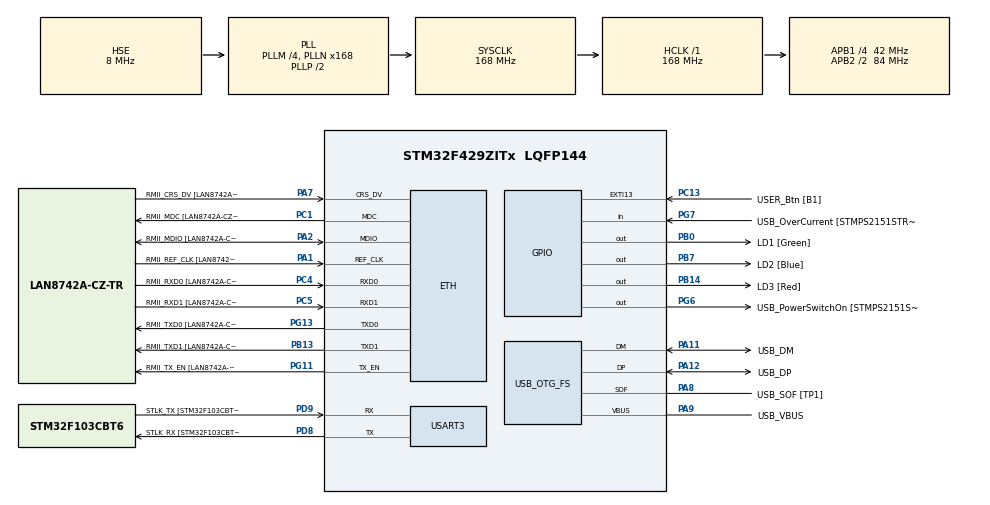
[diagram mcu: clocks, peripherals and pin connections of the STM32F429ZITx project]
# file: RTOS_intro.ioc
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ETH.MediaInterface=HAL_ETH_RMII_MODE
ETH.PHY_Name=LAN8742A_PHY_ADDRESS
ETH.PHY_Value=0
ETH.PhyAddress=0
FREERTOS.Tasks01=LED0,24,128,StartDefaultTask,Default,NULL,Dynamic,NULL,NULL;LED1,8,128,StartTask02,Default,NULL,Dynamic,NULL,NULL
Mcu.Family=STM32F4
Mcu.Name=STM32F429ZITx
Mcu.Package=LQFP144
NVIC.PriorityGroup=NVIC_PRIORITYGROUP_4
PA1.GPIO_Label=RMII_REF_CLK [LAN8742A-CZ-TR_REFCLK0]
PA1.Mode=RMII
PA1.Signal=ETH_REF_CLK
PA10.GPIO_Label=USB_ID
PA10.Signal=USB_OTG_FS_ID
PA11.GPIO_Label=USB_DM
PA11.Mode=Device_Only
PA11.Signal=USB_OTG_FS_DM
PA12.GPIO_Label=USB_DP
PA12.Mode=Device_Only
PA12.Signal=USB_OTG_FS_DP
PA13.GPIO_Label=TMS
PA13.Mode=Serial_Wire
PA13.Signal=SYS_JTMS-SWDIO
PA14.GPIO_Label=TCK
PA14.Mode=Serial_Wire
PA14.Signal=SYS_JTCK-SWCLK
PA2.GPIO_Label=RMII_MDIO [LAN8742A-CZ-TR_MDIO]
PA2.Mode=RMII
PA2.Signal=ETH_MDIO
PA7.GPIO_Label=RMII_CRS_DV [LAN8742A-CZ-TR_CRS_DV]
PA7.Mode=RMII
PA7.Signal=ETH_CRS_DV
PA8.GPIO_Label=USB_SOF [TP1]
PA8.Mode=Activate_SOF_FS
PA8.Signal=USB_OTG_FS_SOF
PA9.GPIO_Label=USB_VBUS
PA9.Mode=Activate_VBUS
PA9.Signal=USB_OTG_FS_VBUS
PB0.GPIO_Label=LD1 [Green]
PB0.Signal=GPIO_Output
PB13.GPIO_Label=RMII_TXD1 [LAN8742A-CZ-TR_TXD1]
PB13.Mode=RMII
PB13.Signal=ETH_TXD1
PB14.GPIO_Label=LD3 [Red]
PB14.Signal=GPIO_Output
PB7.GPIO_Label=LD2 [Blue]
PB7.Signal=GPIO_Output
PC1.GPIO_Label=RMII_MDC [LAN8742A-CZ-TR_MDC]
PC1.Mode=RMII
PC1.Signal=ETH_MDC
PC13.GPIO_Label=USER_Btn [B1]
PC13.Signal=GPXTI13
PC14/OSC32_IN.Mode=LSE-External-Oscillator
PC14/OSC32_IN.Signal=RCC_OSC32_IN
PC15/OSC32_OUT.Mode=LSE-External-Oscillator
PC15/OSC32_OUT.Signal=RCC_OSC32_OUT
PC4.GPIO_Label=RMII_RXD0 [LAN8742A-CZ-TR_RXD0]
PC4.Mode=RMII
PC4.Signal=ETH_RXD0
PC5.GPIO_Label=RMII_RXD1 [LAN8742A-CZ-TR_RXD1]
PC5.Mode=RMII
PC5.Signal=ETH_RXD1
PD8.GPIO_Label=STLK_RX [STM32F103CBT6_PA3]
PD8.Mode=Asynchronous
PD8.Signal=USART3_TX
PD9.GPIO_Label=STLK_TX [STM32F103CBT6_PA2]
PD9.Mode=Asynchronous
PD9.Signal=USART3_RX
PG11.GPIO_Label=RMII_TX_EN [LAN8742A-CZ-TR_TXEN]
PG11.Mode=RMII
PG11.Signal=ETH_TX_EN
PG13.GPIO_Label=RMII_TXD0 [LAN8742A-CZ-TR_TXD0]
PG13.Mode=RMII
PG13.Signal=ETH_TXD0
PG6.GPIO_Label=USB_PowerSwitchOn [STMPS2151STR_EN]
PG6.Signal=GPIO_Output
PG7.GPIO_Label=USB_OverCurrent [STMPS2151STR_FAULT]
PG7.Signal=GPIO_Input
PH0/OSC_IN.GPIO_Label=MCO [STM32F103CBT6_PA8]
PH0/OSC_IN.Mode=HSE-External-Clock-Source
PH0/OSC_IN.Signal=RCC_OSC_IN
PH1/OSC_OUT.Mode=HSE-External-Clock-Source
PH1/OSC_OUT.Signal=RCC_OSC_OUT
ProjectManager.HeapSize=0x200
ProjectManager.StackSize=0x400
ProjectManager.TargetToolchain=STM32CubeIDE
RCC.48MHZClocksFreq_Value=48000000
RCC.AHBFreq_Value=168000000
RCC.APB1CLKDivider=RCC_HCLK_DIV4
RCC.APB1Freq_Value=42000000
RCC.APB1TimFreq_Value=84000000
RCC.APB2CLKDivider=RCC_HCLK_DIV2
RCC.APB2Freq_Value=84000000
RCC.APB2TimCLKDivider=2
RCC.APB2TimFreq_Value=168000000
RCC.CortexFreq_Value=168000000
RCC.HCLKFreq_Value=168000000
RCC.HSE_VALUE=8000000
RCC.HSI_VALUE=16000000
RCC.PLLM=4
RCC.PLLMUL=RCC_PLL_MUL9
RCC.PLLN=168
RCC.PLLQ=7
RCC.PRESCALERUSB=RCC_USBCLKSOURCE_PLL_DIV1_5
RCC.SYSCLKFreq_VALUE=168000000
RCC.SYSCLKSource=RCC_SYSCLKSOURCE_PLLCLK
RCC.SYSCLKSourceVirtual=RCC_SYSCLKSOURCE_PLLCLK
RCC.USBFreq_Value=48000000
RCC.VCOOutputFreq_Value=336000000
USART3.VirtualMode=VM_ASYNC
USB_OTG_FS.VirtualMode=Device_Only
VP_FREERTOS_VS_CMSIS_V2.Mode=CMSIS_V2
board=NUCLEO-F429ZI

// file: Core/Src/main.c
/* USER CODE BEGIN Header */
/**
  ******************************************************************************
  * @file           : main.c
  * @brief          : Main program body
  ******************************************************************************
  * @attention
  *
  * Copyright (c) 2026 STMicroelectronics.
  * All rights reserved.
  *
  * This software is licensed under terms that can be found in the LICENSE file
  * in the root directory of this software component.
  * If no LICENSE file comes with this software, it is provided AS-IS.
  *
  ******************************************************************************
  */
/* USER CODE END Header */
#include "main.h"
#include "uart.h"
#include "string.h"
#include "cmsis_os.h"
#include "stdlib.h"
#include "semphr.h"

ETH_TxPacketConfig TxConfig;
ETH_DMADescTypeDef  DMARxDscrTab[ETH_RX_DESC_CNT]; /* Ethernet Rx DMA Descriptors */
ETH_DMADescTypeDef  DMATxDscrTab[ETH_TX_DESC_CNT]; /* Ethernet Tx DMA Descriptors */

ETH_HandleTypeDef heth;

UART_HandleTypeDef huart3;

PCD_HandleTypeDef hpcd_USB_OTG_FS;

/* Definitions for LED0 */
osThreadId_t LED0Handle;
const osThreadAttr_t LED0_attributes = {
  .name = "LED0",
  .stack_size = 300 * 4,
  .priority = (osPriority_t) osPriorityNormal,
};
/* Definitions for LED1 */
osThreadId_t LED1Handle;
const osThreadAttr_t LED1_attributes = {
  .name = "LED1",
  .stack_size = 300 * 4,
  .priority = (osPriority_t) osPriorityLow,
};

void SystemClock_Config(void);
static void MX_GPIO_Init(void);
static void MX_ETH_Init(void);
static void MX_USART3_UART_Init(void);
static void MX_USB_OTG_FS_PCD_Init(void);
void StartDefaultTask(void *argument);
void StartTask02(void *argument);

/* USER CODE BEGIN PFP */
SemaphoreHandle_t xUartMutex;
/* USER CODE END PFP */

const int con = 10;
int cons = 10;
int bsss;

int main(void)
{

  /* MCU Configuration--------------------------------------------------------*/

  /* Reset of all peripherals, Initializes the Flash interface and the Systick. */
  HAL_Init();

  /* Configure the system clock */
  SystemClock_Config();

  /* Initialize all configured peripherals */
  MX_GPIO_Init();
  MX_ETH_Init();
  MX_USART3_UART_Init();
  MX_USB_OTG_FS_PCD_Init();
  /* USER CODE BEGIN 2 */
  xUartMutex = xSemaphoreCreateMutex();

  static int rws = 1;
    static int rwas;
    UART3_Printf("CODE(main): %x\n\r",main);
    UART3_Printf("CODE(UART3_Print): %x\n\r", UART3_Printf);
    UART3_Printf("RO-data(string): %x\n\r","hello");
    UART3_Printf("RO-data(cons): %x\n\r",&con);

    UART3_Printf("RW-data(static): %x\n\r",&rws);
    UART3_Printf("RW-data: %x\n\r",&cons);

    UART3_Printf("BSS: %x\n\r",&bsss);
    UART3_Printf("BSS(static): %x\n\r",&rwas);

    char * p;
    for (int i = 0; i < 2; i++){
  	  p = malloc(10*sizeof(int));
  	  if (p)
  		 UART3_Printf("Heap: %x\n\r",p);
  	  else
  		  break;
    }
    int stack = 10;
    UART3_Printf("stack: %x\n\r",&stack);
  /* USER CODE END 2 */

  /* Init scheduler */
  osKernelInitialize();

  /* Create the thread(s) */
  /* creation of LED0 */
  LED0Handle = osThreadNew(StartDefaultTask, NULL, &LED0_attributes);

  /* creation of LED1 */
  LED1Handle = osThreadNew(StartTask02, NULL, &LED1_attributes);

  /* USER CODE BEGIN RTOS_THREADS */
  int c[9] = {1,2,3,4,5,6,7,8,9};
  xTaskCreate ((TaskFunction_t)StartDefaultTask, "P1", (uint16_t)(300 * 4), (void *)&c[0], 8, NULL);
  xTaskCreate ((TaskFunction_t)StartDefaultTask, "P2", (uint16_t)(300 * 4), (void *)&c[1], 8, NULL);
  xTaskCreate ((TaskFunction_t)StartDefaultTask, "P3", (uint16_t)(300 * 4), (void *)&c[2], 8, NULL);
  xTaskCreate ((TaskFunction_t)StartDefaultTask, "P4", (uint16_t)(300 * 4), (void *)&c[3], 8, NULL);
  xTaskCreate ((TaskFunction_t)StartDefaultTask, "P5", (uint16_t)(300 * 4), (void *)&c[4], 8, NULL);
  xTaskCreate ((TaskFunction_t)StartDefaultTask, "P6", (uint16_t)(300 * 4), (void *)&c[5], 8, NULL);
  xTaskCreate ((TaskFunction_t)StartDefaultTask, "P7", (uint16_t)(300 * 4), (void *)&c[6], 8, NULL);
  xTaskCreate ((TaskFunction_t)StartDefaultTask, "P8", (uint16_t)(300 * 4), (void *)&c[7], 8, NULL);
  xTaskCreate ((TaskFunction_t)StartDefaultTask, "P9", (uint16_t)(300 * 4), (void *)&c[8], 8, NULL);
  /* USER CODE END RTOS_THREADS */

  /* Start scheduler */
  osKernelStart();

  /* We should never get here as control is now taken by the scheduler */

  /* Infinite loop */
  while (1)
  {

  }
}

void SystemClock_Config(void)
{
  RCC_OscInitTypeDef RCC_OscInitStruct = {0};
  RCC_ClkInitTypeDef RCC_ClkInitStruct = {0};

  /** Configure the main internal regulator output voltage
  */
  __HAL_RCC_PWR_CLK_ENABLE();
  __HAL_PWR_VOLTAGESCALING_CONFIG(PWR_REGULATOR_VOLTAGE_SCALE1);

  /** Initializes the RCC Oscillators according to the specified parameters
  * in the RCC_OscInitTypeDef structure.
  */
  RCC_OscInitStruct.OscillatorType = RCC_OSCILLATORTYPE_HSE;
  RCC_OscInitStruct.HSEState = RCC_HSE_BYPASS;
  RCC_OscInitStruct.PLL.PLLState = RCC_PLL_ON;
  RCC_OscInitStruct.PLL.PLLSource = RCC_PLLSOURCE_HSE;
  RCC_OscInitStruct.PLL.PLLM = 4;
  RCC_OscInitStruct.PLL.PLLN = 168;
  RCC_OscInitStruct.PLL.PLLP = RCC_PLLP_DIV2;
  RCC_OscInitStruct.PLL.PLLQ = 7;
  if (HAL_RCC_OscConfig(&RCC_OscInitStruct) != HAL_OK)
  {
    Error_Handler();
  }

  /** Initializes the CPU, AHB and APB buses clocks
  */
  RCC_ClkInitStruct.ClockType = RCC_CLOCKTYPE_HCLK|RCC_CLOCKTYPE_SYSCLK
                              |RCC_CLOCKTYPE_PCLK1|RCC_CLOCKTYPE_PCLK2;
  RCC_ClkInitStruct.SYSCLKSource = RCC_SYSCLKSOURCE_PLLCLK;
  RCC_ClkInitStruct.AHBCLKDivider = RCC_SYSCLK_DIV1;
  RCC_ClkInitStruct.APB1CLKDivider = RCC_HCLK_DIV4;
  RCC_ClkInitStruct.APB2CLKDivider = RCC_HCLK_DIV2;

  if (HAL_RCC_ClockConfig(&RCC_ClkInitStruct, FLASH_LATENCY_5) != HAL_OK)
  {
    Error_Handler();
  }
}

static void MX_ETH_Init(void)
{

   static uint8_t MACAddr[6];

  heth.Instance = ETH;
  MACAddr[0] = 0x00;
  MACAddr[1] = 0x80;
  MACAddr[2] = 0xE1;
  MACAddr[3] = 0x00;
  MACAddr[4] = 0x00;
  MACAddr[5] = 0x00;
  heth.Init.MACAddr = &MACAddr[0];
  heth.Init.MediaInterface = HAL_ETH_RMII_MODE;
  heth.Init.TxDesc = DMATxDscrTab;
  heth.Init.RxDesc = DMARxDscrTab;
  heth.Init.RxBuffLen = 1524;

  if (HAL_ETH_Init(&heth) != HAL_OK)
  {
    Error_Handler();
  }

  memset(&TxConfig, 0 , sizeof(ETH_TxPacketConfig));
  TxConfig.Attributes = ETH_TX_PACKETS_FEATURES_CSUM | ETH_TX_PACKETS_FEATURES_CRCPAD;
  TxConfig.ChecksumCtrl = ETH_CHECKSUM_IPHDR_PAYLOAD_INSERT_PHDR_CALC;
  TxConfig.CRCPadCtrl = ETH_CRC_PAD_INSERT;

}

static void MX_USART3_UART_Init(void)
{

  huart3.Instance = USART3;
  huart3.Init.BaudRate = 115200;
  huart3.Init.WordLength = UART_WORDLENGTH_8B;
  huart3.Init.StopBits = UART_STOPBITS_1;
  huart3.Init.Parity = UART_PARITY_NONE;
  huart3.Init.Mode = UART_MODE_TX_RX;
  huart3.Init.HwFlowCtl = UART_HWCONTROL_NONE;
  huart3.Init.OverSampling = UART_OVERSAMPLING_16;
  if (HAL_UART_Init(&huart3) != HAL_OK)
  {
    Error_Handler();
  }

}

static void MX_USB_OTG_FS_PCD_Init(void)
{

  hpcd_USB_OTG_FS.Instance = USB_OTG_FS;
  hpcd_USB_OTG_FS.Init.dev_endpoints = 4;
  hpcd_USB_OTG_FS.Init.speed = PCD_SPEED_FULL;
  hpcd_USB_OTG_FS.Init.dma_enable = DISABLE;
  hpcd_USB_OTG_FS.Init.phy_itface = PCD_PHY_EMBEDDED;
  hpcd_USB_OTG_FS.Init.Sof_enable = ENABLE;
  hpcd_USB_OTG_FS.Init.low_power_enable = DISABLE;
  hpcd_USB_OTG_FS.Init.lpm_enable = DISABLE;
  hpcd_USB_OTG_FS.Init.vbus_sensing_enable = ENABLE;
  hpcd_USB_OTG_FS.Init.use_dedicated_ep1 = DISABLE;
  if (HAL_PCD_Init(&hpcd_USB_OTG_FS) != HAL_OK)
  {
    Error_Handler();
  }

}

static void MX_GPIO_Init(void)
{
  GPIO_InitTypeDef GPIO_InitStruct = {0};

  /* GPIO Ports Clock Enable */
  __HAL_RCC_GPIOC_CLK_ENABLE();
  __HAL_RCC_GPIOH_CLK_ENABLE();
  __HAL_RCC_GPIOA_CLK_ENABLE();
  __HAL_RCC_GPIOB_CLK_ENABLE();
  __HAL_RCC_GPIOD_CLK_ENABLE();
  __HAL_RCC_GPIOG_CLK_ENABLE();

  /*Configure GPIO pin Output Level */
  HAL_GPIO_WritePin(GPIOB, LD1_Pin|LD3_Pin|LD2_Pin, GPIO_PIN_RESET);

  /*Configure GPIO pin Output Level */
  HAL_GPIO_WritePin(USB_PowerSwitchOn_GPIO_Port, USB_PowerSwitchOn_Pin, GPIO_PIN_RESET);

  /*Configure GPIO pin : USER_Btn_Pin */
  GPIO_InitStruct.Pin = USER_Btn_Pin;
  GPIO_InitStruct.Mode = GPIO_MODE_IT_RISING;
  GPIO_InitStruct.Pull = GPIO_NOPULL;
  HAL_GPIO_Init(USER_Btn_GPIO_Port, &GPIO_InitStruct);

  /*Configure GPIO pins : LD1_Pin LD3_Pin LD2_Pin */
  GPIO_InitStruct.Pin = LD1_Pin|LD3_Pin|LD2_Pin;
  GPIO_InitStruct.Mode = GPIO_MODE_OUTPUT_PP;
  GPIO_InitStruct.Pull = GPIO_NOPULL;
  GPIO_InitStruct.Speed = GPIO_SPEED_FREQ_LOW;
  HAL_GPIO_Init(GPIOB, &GPIO_InitStruct);

  /*Configure GPIO pin : USB_PowerSwitchOn_Pin */
  GPIO_InitStruct.Pin = USB_PowerSwitchOn_Pin;
  GPIO_InitStruct.Mode = GPIO_MODE_OUTPUT_PP;
  GPIO_InitStruct.Pull = GPIO_NOPULL;
  GPIO_InitStruct.Speed = GPIO_SPEED_FREQ_LOW;
  HAL_GPIO_Init(USB_PowerSwitchOn_GPIO_Port, &GPIO_InitStruct);

  /*Configure GPIO pin : USB_OverCurrent_Pin */
  GPIO_InitStruct.Pin = USB_OverCurrent_Pin;
  GPIO_InitStruct.Mode = GPIO_MODE_INPUT;
  GPIO_InitStruct.Pull = GPIO_NOPULL;
  HAL_GPIO_Init(USB_OverCurrent_GPIO_Port, &GPIO_InitStruct);

}

//void StartDefaultTask(void *argument)
//{
//  /* USER CODE BEGIN 5 */
//
//		/* GPIO B pin config*/
//		// pin output setting
//	GPIOB->MODER &= ~((3 << (7 * 2)));
//	GPIOB->MODER |=  (1 << (7 * 2));
//
//	GPIOB->ODR &= ~(1 << 7);
//	int cnt = 0;
//
//  /* Infinite loop */
//  for(;;)
//  {
//	cnt = (rand() % 401) + 100;
//    osDelay(cnt);
//    GPIOB->ODR ^= (1 << 7);
//    UART3_Printf("%d",1);
//  }
//  /* USER CODE END 5 */
//}

void StartDefaultTask(void *argument)
{
  int cnt = 0;
  int n = 0; // 각 태스크가 개별적으로 5번씩 수행하도록 스택에 할당

  for(;;)
  {
    cnt = (rand() % 401) + 100;
    osDelay(cnt);

    if (n <= 4)
    {
      // 1. 인터럽트를 끄는 대신, 뮤텍스 열쇠를 획득하여 상호 배제 수행
      if(xSemaphoreTake(xUartMutex, portMAX_DELAY) == pdTRUE)
      {
        // 이제 이 구역은 다른 동급 태스크가 끼어들지 못하는 안전 구역(임계 영역 효과)
        UART3_Printf("%d%d%d", *(int *)argument, *(int *)argument, *(int *)argument);

        // 2. 출력이 끝나면 반드시 열쇠를 반환!
        xSemaphoreGive(xUartMutex);

        n++; // 안전하게 카운트 증가
      }
    }
  }
}

void StartTask02(void *argument)
{
  /* USER CODE BEGIN StartTask02 */
	/* GPIO B pin config*/
	// pin output setting
	int cnt = 0;

	    static int rws_t = 1;
	    static int rwas_t;
	    const int tcon = 10;
	    UART3_Printf("task CODE(main): %x\n\r",StartTask02);

	    UART3_Printf("tast RO-data(tcon): %x\n\r",&tcon);

	    UART3_Printf("task RW-data(static): %x\n\r",&rws_t);

	    UART3_Printf("task BSS(static): %x\n\r",&rwas_t);

	    char * p;
	    for (int i = 0; i < 2; i++){
	  	  p = malloc(10*sizeof(int));
	  	  if (p)
	  		 UART3_Printf("task Heap: %x\n\r",p);
	  	  else
	  		  break;
	    }
	    int stack = 10;
	    UART3_Printf("task stack: %x\n\r",&stack);
  /* Infinite loop */
  for(;;)
  {
	cnt = (rand() % 401) + 100;
    osDelay(cnt);
    //UART3_Printf("%d",0);
  }
  /* USER CODE END StartTask02 */
}

void Error_Handler(void)
{
  __disable_irq();
  while (1)
  {
  }
}
